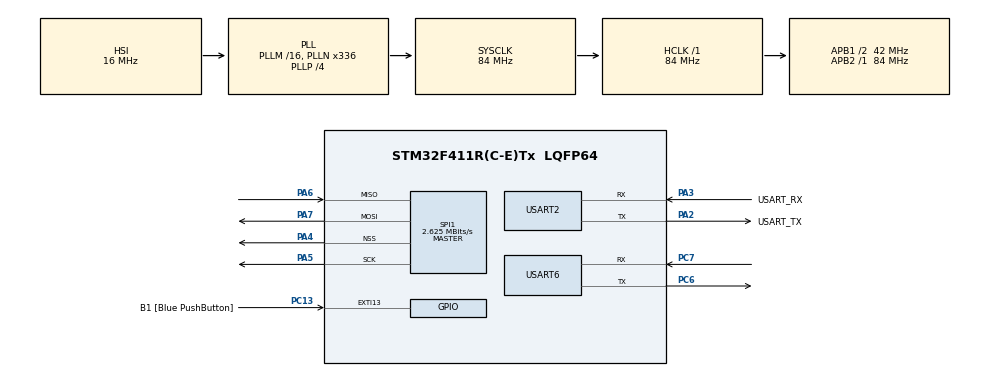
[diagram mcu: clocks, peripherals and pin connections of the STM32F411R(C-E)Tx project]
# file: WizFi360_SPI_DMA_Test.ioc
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Dma.Request0=SPI1_RX
Dma.Request1=SPI1_TX
Dma.SPI1_RX.0.Direction=DMA_PERIPH_TO_MEMORY
Dma.SPI1_RX.0.FIFOMode=DMA_FIFOMODE_DISABLE
Dma.SPI1_RX.0.Instance=DMA2_Stream0
Dma.SPI1_RX.0.MemDataAlignment=DMA_MDATAALIGN_BYTE
Dma.SPI1_RX.0.MemInc=DMA_MINC_ENABLE
Dma.SPI1_RX.0.Mode=DMA_NORMAL
Dma.SPI1_RX.0.PeriphDataAlignment=DMA_PDATAALIGN_BYTE
Dma.SPI1_RX.0.PeriphInc=DMA_PINC_DISABLE
Dma.SPI1_RX.0.Priority=DMA_PRIORITY_HIGH
Dma.SPI1_TX.1.Direction=DMA_MEMORY_TO_PERIPH
Dma.SPI1_TX.1.FIFOMode=DMA_FIFOMODE_DISABLE
Dma.SPI1_TX.1.Instance=DMA2_Stream2
Dma.SPI1_TX.1.MemDataAlignment=DMA_MDATAALIGN_BYTE
Dma.SPI1_TX.1.MemInc=DMA_MINC_ENABLE
Dma.SPI1_TX.1.Mode=DMA_NORMAL
Dma.SPI1_TX.1.PeriphDataAlignment=DMA_PDATAALIGN_BYTE
Dma.SPI1_TX.1.PeriphInc=DMA_PINC_DISABLE
Dma.SPI1_TX.1.Priority=DMA_PRIORITY_HIGH
Mcu.Family=STM32F4
Mcu.Name=STM32F411R(C-E)Tx
Mcu.Package=LQFP64
NVIC.DMA2_Stream0_IRQn=true\:0\:0\:false\:false\:true\:false\:true
NVIC.DMA2_Stream2_IRQn=true\:0\:0\:false\:false\:true\:false\:true
NVIC.PriorityGroup=NVIC_PRIORITYGROUP_0
NVIC.RCC_IRQn=true\:0\:0\:false\:false\:true\:true\:false
NVIC.RTC_WKUP_IRQn=true\:0\:0\:false\:false\:true\:true\:true
NVIC.SPI1_IRQn=true\:0\:0\:false\:false\:true\:true\:true
NVIC.TIM1_CC_IRQn=true\:0\:0\:false\:false\:true\:true\:true
NVIC.USART2_IRQn=true\:0\:0\:false\:false\:true\:true\:true
NVIC.USART6_IRQn=true\:0\:0\:false\:false\:true\:true\:true
PA13.GPIO_Label=TMS
PA13.Mode=Serial_Wire
PA13.Signal=SYS_JTMS-SWDIO
PA14.GPIO_Label=TCK
PA14.Mode=Serial_Wire
PA14.Signal=SYS_JTCK-SWCLK
PA2.GPIO_Label=USART_TX
PA2.Mode=Asynchronous
PA2.Signal=USART2_TX
PA3.GPIO_Label=USART_RX
PA3.Mode=Asynchronous
PA3.Signal=USART2_RX
PA4.Mode=NSS_Signal_Hard_Output
PA4.Signal=SPI1_NSS
PA5.Mode=Full_Duplex_Master
PA5.Signal=SPI1_SCK
PA6.Mode=Full_Duplex_Master
PA6.Signal=SPI1_MISO
PA7.Mode=Full_Duplex_Master
PA7.Signal=SPI1_MOSI
PB3.GPIO_Label=SWO
PB3.Signal=SYS_JTDO-SWO
PC13-ANTI_TAMP.GPIO_Label=B1 [Blue PushButton]
PC13-ANTI_TAMP.GPIO_ModeDefaultEXTI=GPIO_MODE_IT_FALLING
PC13-ANTI_TAMP.Signal=GPXTI13
PC14-OSC32_IN.Mode=LSE-External-Oscillator
PC14-OSC32_IN.Signal=RCC_OSC32_IN
PC15-OSC32_OUT.Mode=LSE-External-Oscillator
PC15-OSC32_OUT.Signal=RCC_OSC32_OUT
PC6.Mode=Asynchronous
PC6.Signal=USART6_TX
PC7.Mode=Asynchronous
PC7.Signal=USART6_RX
PH0\ -\ OSC_IN.Mode=HSE-External-Clock-Source
PH0\ -\ OSC_IN.Signal=RCC_OSC_IN
PH1\ -\ OSC_OUT.Mode=HSE-External-Clock-Source
PH1\ -\ OSC_OUT.Signal=RCC_OSC_OUT
ProjectManager.HeapSize=0x200
ProjectManager.StackSize=0x400
ProjectManager.TargetToolchain=MDK-ARM V5.27
RCC.48MHZClocksFreq_Value=84000000
RCC.AHBFreq_Value=84000000
RCC.APB1CLKDivider=RCC_HCLK_DIV2
RCC.APB1Freq_Value=42000000
RCC.APB1TimFreq_Value=84000000
RCC.APB2Freq_Value=84000000
RCC.APB2TimFreq_Value=84000000
RCC.CortexFreq_Value=84000000
RCC.FLatency-AdvancedSettings=FLASH_LATENCY_2
RCC.HCLKFreq_Value=84000000
RCC.HSE_VALUE=8000000
RCC.HSI_VALUE=16000000
RCC.PLLN=336
RCC.PLLP=RCC_PLLP_DIV4
RCC.SYSCLKFreq_VALUE=84000000
RCC.SYSCLKSource=RCC_SYSCLKSOURCE_PLLCLK
RCC.VCOOutputFreq_Value=336000000
SPI1.BaudRatePrescaler=SPI_BAUDRATEPRESCALER_32
SPI1.CalculateBaudRate=2.625 MBits/s
SPI1.Direction=SPI_DIRECTION_2LINES
SPI1.Mode=SPI_MODE_MASTER
SPI1.VirtualNSS=VM_NSSHARD
SPI1.VirtualType=VM_MASTER
USART2.VirtualMode=VM_ASYNC
USART6.VirtualMode=VM_ASYNC
VP_RTC_VS_RTC_Activate.Mode=RTC_Enabled
VP_RTC_VS_RTC_Calendar.Mode=RTC_Calendar
VP_RTC_VS_RTC_WakeUp_intern.Mode=WakeUp
VP_TIM1_VS_ClockSourceINT.Mode=Internal
VP_TIM1_VS_ClockSourceITR.Mode=TriggerSource_ITR0
VP_TIM1_VS_ControllerModeTrigger.Mode=Trigger Mode
board=NUCLEO-F411RE

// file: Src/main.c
/* USER CODE BEGIN Header */
/**
  ******************************************************************************
  * @file           : main.c
  * @brief          : Main program body
  ******************************************************************************
  * @attention
  *
  * <h2><center>&copy; Copyright (c) 2020 STMicroelectronics.
  * All rights reserved.</center></h2>
  *
  * This software component is licensed by ST under BSD 3-Clause license,
  * the "License"; You may not use this file except in compliance with the
  * License. You may obtain a copy of the License at:
  *                        opensource.org/licenses/BSD-3-Clause
  *
  ******************************************************************************
  */
/* USER CODE END Header */

#include "main.h"

/* USER CODE BEGIN Includes */
#include "string.h"
#include "stdio.h"
#include "stdlib.h"
/* USER CODE END Includes */

/* USER CODE BEGIN PTD */

#define SPI_REG_INT_STTS		0x06
#define SPI_REG_RX_DAT_LEN		0x02
#define SPI_REG_TX_BUFF_AVAIL	0x03
#define SPI_CMD_RX_DATA			0x10
#define SPI_CMD_TX_CMD			0x91
#define SPI_CMD_TX_DATA			0x90

/* USER CODE END PTD */

/* USER CODE BEGIN PD */
#define KEIL //KEIL ,True_STD
/* USER CODE END PD */

/* USER CODE BEGIN PM */
enum {
TRANSFER_READY,
TRANSFER_WAIT,
TRANSFER_COMPLETE,
TRANSFER_ERROR
};

/* USER CODE END PM */

RTC_HandleTypeDef hrtc;

SPI_HandleTypeDef hspi1;
DMA_HandleTypeDef hdma_spi1_rx;
DMA_HandleTypeDef hdma_spi1_tx;

TIM_HandleTypeDef htim1;

UART_HandleTypeDef huart2;
UART_HandleTypeDef huart6;

/* USER CODE BEGIN PV */
//uint8_t SPI_buffer_tx[10]={61, 62, 63, 64, 65, 66, 67, 68, 69, 70};
//uint8_t SPI_buffer_rx[10] = {0,};
/* transfer state */
__IO uint32_t wTransferState = TRANSFER_READY;

/* USER CODE END PV */

void SystemClock_Config(void);
static void MX_GPIO_Init(void);
static void MX_DMA_Init(void);
static void MX_SPI1_Init(void);
static void MX_USART2_UART_Init(void);
static void MX_USART6_UART_Init(void);
static void MX_RTC_Init(void);
static void MX_TIM1_Init(void);
/* USER CODE BEGIN PFP */
#ifdef KEIL
      #ifdef __GNUC__
      //With GCC, small printf (option LD Linker->Libraries->Small printf
      //set to 'Yes') calls __io_putchar()
         #define PUTCHAR_PROTOTYPE int __io_putchar(int ch)
		  #else
				 #define PUTCHAR_PROTOTYPE int fputc(int ch, FILE *f)
		  #endif /* __GNUC__*/
    #if 1
    PUTCHAR_PROTOTYPE
    {
      HAL_UART_Transmit(&huart6, (uint8_t *)&ch, 1, 0xFFFF);
      return ch;
    }
    #endif
  #endif

  #ifdef True_STD
  int _write(int fd, char *str, int len)
  {
    for(int i=0; i<len; i++)
    {
      HAL_UART_Transmit(&huart2, (uint8_t *)&str[i], 1, 0xFFFF);
    }
    return len;
  }
#endif
void Clear_SPI_CR2_SSOE(SPI_HandleTypeDef *hspi);
void Clear_SPI_MasterEnable(SPI_HandleTypeDef *hspi)
{
  SET_BIT(hspi->Instance->CR1, SPI_CR1_MSTR|SPI_CR1_SPE);
}
/* USER CODE END PFP */

/* USER CODE BEGIN 0 */
uart_buffer uart_2;
uart_buffer uart_6;

void HAL_SPI_TxRxCpltCallback(SPI_HandleTypeDef *hspi)
{
  //while(1);
  printf(" HAL_SPI_TxRxCpltCallback  \r\n");
  //CLEAR_BIT(hspi->Instance->CR2, SPI_CR2_TXDMAEN | SPI_CR2_RXDMAEN | SPI_CR2_SSOE);
  //SET_BIT(hspi->Instance->CR2, SPI_CR2_SSOE);
  wTransferState = TRANSFER_COMPLETE;
}
void HAL_SPI_ErrorCallback(SPI_HandleTypeDef *hspi)
{
  printf(" HAL_SPI_ERROR \r\n");
  wTransferState = TRANSFER_ERROR;
}

/* USER CODE END 0 */

int main(void)
{
  /* USER CODE BEGIN 1 */
  uint8_t temp_data[10] = {61, 62, 63, 64, 65, 66, 67, 68, 69, 70};
  uint8_t SPI_buffer_tx[10]={61, 62, 63, 64, 65, 66, 67, 68, 69, 70};
  uint8_t SPI_buffer_rx[10] = {0,};
  uint8_t temp_uart_buffer[512];
  uint8_t rxData;
  int temp_uart_index = 0;
  uint8_t temp_cmd = 0;
  uint8_t cmd_code = 0;;
  /* USER CODE END 1 */

  /* MCU Configuration--------------------------------------------------------*/

  /* Reset of all peripherals, Initializes the Flash interface and the Systick. */
  HAL_Init();

  /* Configure the system clock */
  SystemClock_Config();

  /* Initialize all configured peripherals */
  MX_GPIO_Init();
  MX_DMA_Init();
  MX_SPI1_Init();
  MX_USART2_UART_Init();
  MX_USART6_UART_Init();
  MX_RTC_Init();
  MX_TIM1_Init();
  /* USER CODE BEGIN 2 */

  uart_buffer_init(&uart_2);
  uart_buffer_init(&uart_6);
  //HAL_SPI_TransmitReceive_DMA(&hspi1, SPI_buffer_tx, SPI_buffer_tx, 10);
  //memcpy(SPI_buffer_tx, temp_data, 10);
  //HAL_SPI_TransmitReceive_DMA(&hspi1, SPI_buffer_tx, SPI_buffer_tx, 10);

  HAL_MspInit();
  HAL_SPI_MspInit(&hspi1);
  __HAL_SPI_ENABLE(&hspi1);
  //HAL_SPI_Receive_DMA_INIT(&hspi1,SPI_buffer_rx,2);

  HAL_UART_Receive_IT(&huart2, &rxData, 1);
  HAL_UART_Receive_IT(&huart6, &rxData, 1);
  //HAL_SPI_TransmitReceive_DMA(&hspi1, SPI_buffer_tx, SPI_buffer_rx, 2);
  //Clear_SPI_CR2_SSOE(&hspi1);

  /* USER CODE END 2 */

  /* Infinite loop */
  /* USER CODE BEGIN WHILE */
  printf("-------------------------------------\r\n");
  printf(" \t SPI DMA Test Program  \r\n");
  printf("-------------------------------------\r\n");
  while (1)
  {
  	if(get_uart_flag(&uart_2) == 1)
	{
		temp_uart_index = 0;
		while(uart_buffer_empty(&uart_2) == 0)
		{
			temp_uart_buffer[temp_uart_index++] = uart_Dequeue(&uart_2);
		}
		temp_uart_buffer[temp_uart_index++] = 0;
		printf("uart_2 : %s \n", temp_uart_buffer);
		uart_flag_reset(&uart_2);
	}

	if(get_uart_flag(&uart_6) == 1)
	{
		temp_uart_index = 0;
		while(uart_buffer_empty(&uart_6) == 0)
		{
			temp_uart_buffer[temp_uart_index++] = uart_Dequeue(&uart_6);
		}
		temp_uart_buffer[temp_uart_index++] = 0;
		printf("uart_6 : %s \n", temp_uart_buffer);
		uart_flag_reset(&uart_6);

		if(strncmp(temp_uart_buffer,"stts",4) == 0)
		{	//send
			SPI_buffer_tx[0] = SPI_REG_INT_STTS;
			SPI_buffer_tx[1] = 0xff;
			SPI_buffer_rx[2] = 0x00;
			cmd_code = SPI_REG_INT_STTS;
			wTransferState = TRANSFER_WAIT;
			if(HAL_SPI_TransmitReceive_DMA(&hspi1, SPI_buffer_tx, SPI_buffer_rx, 3) != HAL_OK)
			{
				Error_Handler();
			}
			//Clear_SPI_CR2_SSOE(&hspi1);
			#if 0
			printf("spi1 tx:%02x rx:%02x%02x \r\n", SPI_buffer_tx[0], SPI_buffer_rx[2], SPI_buffer_rx[1]);
			if(SPI_buffer_rx[1] == 0x01)
			{
				printf("stts = %02x\r\n", SPI_buffer_rx[1]);
			}
			printf("_spi1 tx:%02x rx:%02x%02x \r\n", SPI_REG_INT_STTS, SPI_buffer_rx[2], SPI_buffer_rx[1]);
			Clear_SPI_MasterEnable(&hspi1);
			#endif
		}
		else if(strncmp(temp_uart_buffer,"tbav",4) == 0)
		{	//send
			SPI_buffer_tx[0] = SPI_REG_TX_BUFF_AVAIL;
			SPI_buffer_tx[1] = 0xff;
			SPI_buffer_rx[2] = 0x00;
			cmd_code = SPI_REG_TX_BUFF_AVAIL;
			wTransferState = TRANSFER_WAIT;
			if(HAL_SPI_TransmitReceive_DMA(&hspi1, SPI_buffer_tx, SPI_buffer_rx, 3) != HAL_OK)
			{
				Error_Handler();
			}
			//Clear_SPI_CR2_SSOE(&hspi1);
			#if 0
			printf("spi1 tx:%02x rx:%02x%02x \r\n", SPI_buffer_tx[0], SPI_buffer_rx[2], SPI_buffer_rx[1]);
			if(SPI_buffer_rx[1] & 0x02)
			{
				printf("BUFF AVAIL = %02x\r\n", SPI_buffer_rx[1]);
			}
			printf("_spi1 tx:%02x rx:%02x%02x \r\n", SPI_REG_TX_BUFF_AVAIL, SPI_buffer_rx[2], SPI_buffer_rx[1]);
			#endif
		}
		else if(strncmp(temp_uart_buffer,"rlen",4) == 0)
		{	//send
			SPI_buffer_tx[0] = SPI_REG_RX_DAT_LEN;
			SPI_buffer_tx[1] = 0xff;
			SPI_buffer_rx[2] = 0x00;
			cmd_code = SPI_REG_RX_DAT_LEN;
			wTransferState = TRANSFER_WAIT;
			if(HAL_SPI_TransmitReceive_DMA(&hspi1, SPI_buffer_tx, SPI_buffer_rx, 3) != HAL_OK)
			{
				Error_Handler();
			}

			//Clear_SPI_CR2_SSOE(&hspi1);
			#if 0
			printf("spi1 tx:%02x rx:%02x%02x \r\n", SPI_buffer_tx[0], SPI_buffer_rx[2], SPI_buffer_rx[1]);
			if((SPI_buffer_rx[2]<<8 |(SPI_buffer_rx[1]&0x00FF)) > 0 )
			{
				printf("Recv len = %02x%02x\r\n", SPI_buffer_rx[2], SPI_buffer_rx[1]);
			}
			printf("_spi1 tx:%02x rx:%02x%02x \r\n", SPI_REG_RX_DAT_LEN, SPI_buffer_rx[2], SPI_buffer_rx[1]);
			Clear_SPI_MasterEnable(&hspi1);
			#endif
		}
	}
	switch(wTransferState)
	{
		case TRANSFER_READY:
			break;
		case TRANSFER_ERROR:
			printf("SPI ERROR\r\n");
			wTransferState = TRANSFER_READY;
			break;
		case TRANSFER_COMPLETE:
			printf("spi1 tx:%02x rx:%02x%02x \r\n", cmd_code, SPI_buffer_rx[2], SPI_buffer_rx[1]);
			wTransferState = TRANSFER_READY;
			#if 0
			switch(cmd_code)
			{
				case SPI_REG_INT_STTS:
					break;
				case SPI_REG_TX_BUFF_AVAIL:
					break;
				case SPI_REG_RX_DAT_LEN:
					break;
			}
			#endif
			break;
		case TRANSFER_WAIT:
			break;
		default :
			break;
	}

    /* USER CODE END WHILE */

    /* USER CODE BEGIN 3 */
    //memcpy(SPI_buffer_tx, temp_data, 10);
    //HAL_SPI_TransmitReceive_DMA(&hspi1, SPI_buffer_tx, SPI_buffer_tx, 10);
  }
  /* USER CODE END 3 */
}

void SystemClock_Config(void)
{
  RCC_OscInitTypeDef RCC_OscInitStruct = {0};
  RCC_ClkInitTypeDef RCC_ClkInitStruct = {0};
  RCC_PeriphCLKInitTypeDef PeriphClkInitStruct = {0};

  /** Configure the main internal regulator output voltage
  */
  __HAL_RCC_PWR_CLK_ENABLE();
  __HAL_PWR_VOLTAGESCALING_CONFIG(PWR_REGULATOR_VOLTAGE_SCALE1);
  /** Initializes the CPU, AHB and APB busses clocks
  */
  RCC_OscInitStruct.OscillatorType = RCC_OSCILLATORTYPE_HSI|RCC_OSCILLATORTYPE_LSI;
  RCC_OscInitStruct.HSIState = RCC_HSI_ON;
  RCC_OscInitStruct.HSICalibrationValue = RCC_HSICALIBRATION_DEFAULT;
  RCC_OscInitStruct.LSIState = RCC_LSI_ON;
  RCC_OscInitStruct.PLL.PLLState = RCC_PLL_ON;
  RCC_OscInitStruct.PLL.PLLSource = RCC_PLLSOURCE_HSI;
  RCC_OscInitStruct.PLL.PLLM = 16;
  RCC_OscInitStruct.PLL.PLLN = 336;
  RCC_OscInitStruct.PLL.PLLP = RCC_PLLP_DIV4;
  RCC_OscInitStruct.PLL.PLLQ = 4;
  if (HAL_RCC_OscConfig(&RCC_OscInitStruct) != HAL_OK)
  {
    Error_Handler();
  }
  /** Initializes the CPU, AHB and APB busses clocks
  */
  RCC_ClkInitStruct.ClockType = RCC_CLOCKTYPE_HCLK|RCC_CLOCKTYPE_SYSCLK
                              |RCC_CLOCKTYPE_PCLK1|RCC_CLOCKTYPE_PCLK2;
  RCC_ClkInitStruct.SYSCLKSource = RCC_SYSCLKSOURCE_PLLCLK;
  RCC_ClkInitStruct.AHBCLKDivider = RCC_SYSCLK_DIV1;
  RCC_ClkInitStruct.APB1CLKDivider = RCC_HCLK_DIV2;
  RCC_ClkInitStruct.APB2CLKDivider = RCC_HCLK_DIV1;

  if (HAL_RCC_ClockConfig(&RCC_ClkInitStruct, FLASH_LATENCY_2) != HAL_OK)
  {
    Error_Handler();
  }
  PeriphClkInitStruct.PeriphClockSelection = RCC_PERIPHCLK_RTC;
  PeriphClkInitStruct.RTCClockSelection = RCC_RTCCLKSOURCE_LSI;
  if (HAL_RCCEx_PeriphCLKConfig(&PeriphClkInitStruct) != HAL_OK)
  {
    Error_Handler();
  }
}

static void MX_RTC_Init(void)
{

  RTC_TimeTypeDef sTime = {0};
  RTC_DateTypeDef sDate = {0};

  /** Initialize RTC Only
  */
  hrtc.Instance = RTC;
  hrtc.Init.HourFormat = RTC_HOURFORMAT_24;
  hrtc.Init.AsynchPrediv = 127;
  hrtc.Init.SynchPrediv = 255;
  hrtc.Init.OutPut = RTC_OUTPUT_DISABLE;
  hrtc.Init.OutPutPolarity = RTC_OUTPUT_POLARITY_HIGH;
  hrtc.Init.OutPutType = RTC_OUTPUT_TYPE_OPENDRAIN;
  if (HAL_RTC_Init(&hrtc) != HAL_OK)
  {
    Error_Handler();
  }

  /** Initialize RTC and set the Time and Date
  */
  sTime.Hours = 0x0;
  sTime.Minutes = 0x0;
  sTime.Seconds = 0x0;
  sTime.DayLightSaving = RTC_DAYLIGHTSAVING_NONE;
  sTime.StoreOperation = RTC_STOREOPERATION_RESET;
  if (HAL_RTC_SetTime(&hrtc, &sTime, RTC_FORMAT_BCD) != HAL_OK)
  {
    Error_Handler();
  }
  sDate.WeekDay = RTC_WEEKDAY_MONDAY;
  sDate.Month = RTC_MONTH_JANUARY;
  sDate.Date = 0x1;
  sDate.Year = 0x0;

  if (HAL_RTC_SetDate(&hrtc, &sDate, RTC_FORMAT_BCD) != HAL_OK)
  {
    Error_Handler();
  }
  /** Enable the WakeUp
  */
  if (HAL_RTCEx_SetWakeUpTimer_IT(&hrtc, 0, RTC_WAKEUPCLOCK_RTCCLK_DIV16) != HAL_OK)
  {
    Error_Handler();
  }

}

static void MX_SPI1_Init(void)
{

  /* SPI1 parameter configuration*/
  hspi1.Instance = SPI1;
  hspi1.Init.Mode = SPI_MODE_MASTER;
  hspi1.Init.Direction = SPI_DIRECTION_2LINES;
  hspi1.Init.DataSize = SPI_DATASIZE_8BIT;
  hspi1.Init.CLKPolarity = SPI_POLARITY_LOW;
  hspi1.Init.CLKPhase = SPI_PHASE_1EDGE;
  hspi1.Init.NSS = SPI_NSS_HARD_OUTPUT;
  hspi1.Init.BaudRatePrescaler = SPI_BAUDRATEPRESCALER_32;
  hspi1.Init.FirstBit = SPI_FIRSTBIT_MSB;
  hspi1.Init.TIMode = SPI_TIMODE_DISABLE;
  hspi1.Init.CRCCalculation = SPI_CRCCALCULATION_DISABLE;
  hspi1.Init.CRCPolynomial = 10;
  if (HAL_SPI_Init(&hspi1) != HAL_OK)
  {
    Error_Handler();
  }

}

static void MX_TIM1_Init(void)
{

  TIM_ClockConfigTypeDef sClockSourceConfig = {0};
  TIM_SlaveConfigTypeDef sSlaveConfig = {0};
  TIM_MasterConfigTypeDef sMasterConfig = {0};

  htim1.Instance = TIM1;
  htim1.Init.Prescaler = 0;
  htim1.Init.CounterMode = TIM_COUNTERMODE_UP;
  htim1.Init.Period = 0;
  htim1.Init.ClockDivision = TIM_CLOCKDIVISION_DIV1;
  htim1.Init.RepetitionCounter = 0;
  htim1.Init.AutoReloadPreload = TIM_AUTORELOAD_PRELOAD_DISABLE;
  if (HAL_TIM_Base_Init(&htim1) != HAL_OK)
  {
    Error_Handler();
  }
  sClockSourceConfig.ClockSource = TIM_CLOCKSOURCE_INTERNAL;
  if (HAL_TIM_ConfigClockSource(&htim1, &sClockSourceConfig) != HAL_OK)
  {
    Error_Handler();
  }
  sSlaveConfig.SlaveMode = TIM_SLAVEMODE_TRIGGER;
  sSlaveConfig.InputTrigger = TIM_TS_ITR0;
  if (HAL_TIM_SlaveConfigSynchro(&htim1, &sSlaveConfig) != HAL_OK)
  {
    Error_Handler();
  }
  sMasterConfig.MasterOutputTrigger = TIM_TRGO_RESET;
  sMasterConfig.MasterSlaveMode = TIM_MASTERSLAVEMODE_DISABLE;
  if (HAL_TIMEx_MasterConfigSynchronization(&htim1, &sMasterConfig) != HAL_OK)
  {
    Error_Handler();
  }

}

static void MX_USART2_UART_Init(void)
{

  huart2.Instance = USART2;
  huart2.Init.BaudRate = 115200;
  huart2.Init.WordLength = UART_WORDLENGTH_8B;
  huart2.Init.StopBits = UART_STOPBITS_1;
  huart2.Init.Parity = UART_PARITY_NONE;
  huart2.Init.Mode = UART_MODE_TX_RX;
  huart2.Init.HwFlowCtl = UART_HWCONTROL_NONE;
  huart2.Init.OverSampling = UART_OVERSAMPLING_16;
  if (HAL_UART_Init(&huart2) != HAL_OK)
  {
    Error_Handler();
  }

}

static void MX_USART6_UART_Init(void)
{

  huart6.Instance = USART6;
  huart6.Init.BaudRate = 115200;
  huart6.Init.WordLength = UART_WORDLENGTH_8B;
  huart6.Init.StopBits = UART_STOPBITS_1;
  huart6.Init.Parity = UART_PARITY_NONE;
  huart6.Init.Mode = UART_MODE_TX_RX;
  huart6.Init.HwFlowCtl = UART_HWCONTROL_NONE;
  huart6.Init.OverSampling = UART_OVERSAMPLING_16;
  if (HAL_UART_Init(&huart6) != HAL_OK)
  {
    Error_Handler();
  }

}

static void MX_DMA_Init(void)
{

  /* DMA controller clock enable */
  __HAL_RCC_DMA2_CLK_ENABLE();

  /* DMA interrupt init */
  /* DMA2_Stream0_IRQn interrupt configuration */
  HAL_NVIC_SetPriority(DMA2_Stream0_IRQn, 0, 0);
  HAL_NVIC_EnableIRQ(DMA2_Stream0_IRQn);
  /* DMA2_Stream2_IRQn interrupt configuration */
  HAL_NVIC_SetPriority(DMA2_Stream2_IRQn, 0, 0);
  HAL_NVIC_EnableIRQ(DMA2_Stream2_IRQn);

}

static void MX_GPIO_Init(void)
{
  GPIO_InitTypeDef GPIO_InitStruct = {0};

  /* GPIO Ports Clock Enable */
  __HAL_RCC_GPIOC_CLK_ENABLE();
  __HAL_RCC_GPIOH_CLK_ENABLE();
  __HAL_RCC_GPIOA_CLK_ENABLE();
  __HAL_RCC_GPIOB_CLK_ENABLE();

  /*Configure GPIO pin : B1_Pin */
  GPIO_InitStruct.Pin = B1_Pin;
  GPIO_InitStruct.Mode = GPIO_MODE_IT_FALLING;
  GPIO_InitStruct.Pull = GPIO_NOPULL;
  HAL_GPIO_Init(B1_GPIO_Port, &GPIO_InitStruct);

}

/* USER CODE BEGIN 4 */
void Clear_SPI_CR2_SSOE(SPI_HandleTypeDef *hspi)
{
  CLEAR_BIT(hspi->Instance->CR2, SPI_CR2_SSOE);
  SET_BIT(hspi->Instance->CR2, SPI_CR2_SSOE);

}

void uart2_enqueue(char data)
{
	uart_Enqueue(&uart_2, data);
}
void uart6_enqueue(char data)
{
	uart_Enqueue(&uart_6, data);
}

/* USER CODE END 4 */

void Error_Handler(void)
{
}

/************************ (C) COPYRIGHT STMicroelectronics *****END OF FILE****/
